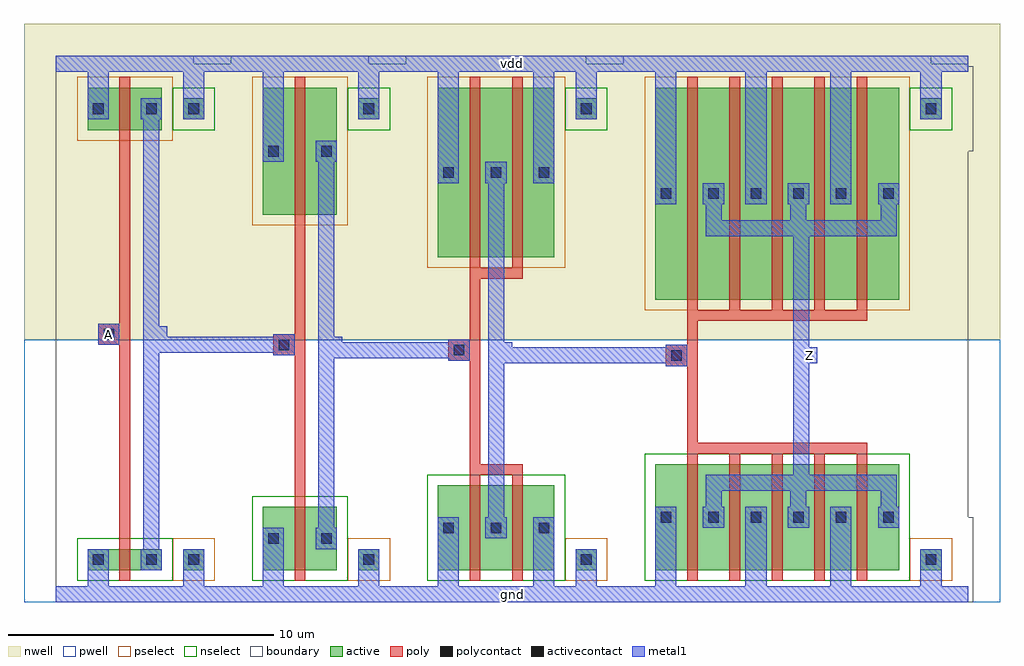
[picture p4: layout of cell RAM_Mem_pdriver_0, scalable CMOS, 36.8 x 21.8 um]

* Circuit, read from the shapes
.subckt RAM_Mem_pdriver_0 A Z gnd vdd
M1 RAM_Mem_pinv_6_1/A A gnd gnd nfet w=0.8u l=0.4u
M2 RAM_Mem_pinv_7_2/A RAM_Mem_pinv_6_1/A gnd gnd nfet w=2.4u l=0.4u
M3 RAM_Mem_pinv_8_3/A RAM_Mem_pinv_7_2/A gnd gnd nfet w=3.2u l=0.4u m=2
M4 Z RAM_Mem_pinv_8_3/A gnd gnd nfet w=4u l=0.4u m=5
M5 RAM_Mem_pinv_6_1/A A vdd vdd pfet w=1.6u l=0.4u
M6 RAM_Mem_pinv_7_2/A RAM_Mem_pinv_6_1/A vdd vdd pfet w=4.8u l=0.4u
M7 RAM_Mem_pinv_8_3/A RAM_Mem_pinv_7_2/A vdd vdd pfet w=6.4u l=0.4u m=2
M8 Z RAM_Mem_pinv_8_3/A vdd vdd pfet w=8u l=0.4u m=5
.ends

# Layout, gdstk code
import gdstk
lib = gdstk.Library(unit=1e-6, precision=1e-09)
def R(c, l, rs):  # rectangles x0, y0, x1, y1
    for r in rs: c.add(gdstk.rectangle(r[:2], r[2:], *l))
def A(c, l, x, y, w, h, nx, ny, dx, dy):  # array of equal rectangles
    R(c, l, [(x+i*dx, y+j*dy, x+i*dx+w, y+j*dy+h) for i in range(nx) for j in range(ny)])
pwell = (41, 0)
nwell = (42, 0)
active = (43, 0)
pselect = (44, 0)
nselect = (45, 0)
poly = (46, 0)
polycontact = (47, 0)
activecontact = (48, 0)
metal1 = (49, 0)
boundary = (63, 0)

ram_mem_contact_12 = lib.new_cell('RAM_Mem_contact_12')
R(ram_mem_contact_12, nwell, [(-1.2,-1.2,2,2)])
R(ram_mem_contact_12, active, [(0,0,0.8,0.8)])
R(ram_mem_contact_12, pselect, [(-0.4,-0.4,1.2,1.2)])
R(ram_mem_contact_12, activecontact, [(0.2,0.2,0.6,0.6)])
R(ram_mem_contact_12, metal1, [(0,0,0.8,0.8)])
R(ram_mem_contact_12, boundary, [(-1.2,-1.2,2,2)])

ram_mem_pmos_m1_w1_600_s = lib.new_cell('RAM_Mem_pmos_m1_w1_600_sm1_dm1_da_p')
R(ram_mem_pmos_m1_w1_600_s, nwell, [(-1.2,-1.2,4,2.8)])
R(ram_mem_pmos_m1_w1_600_s, active, [(0,0,2.8,1.6)])
R(ram_mem_pmos_m1_w1_600_s, pselect, [(-0.4,-0.4,3.2,2)])
R(ram_mem_pmos_m1_w1_600_s, poly, [(1.2,-0.4,1.6,2), (1.2,-0.4,1.6,2)])
R(ram_mem_pmos_m1_w1_600_s, metal1, [(0,0.4,0.8,1.2), (2,0.4,2.8,1.2)])
R(ram_mem_pmos_m1_w1_600_s, boundary, [(-1.2,-1.2,4,2.8)])
ram_mem_pmos_m1_w1_600_s.add(gdstk.Reference(ram_mem_contact_12, (0,0.4)))
ram_mem_pmos_m1_w1_600_s.add(gdstk.Reference(ram_mem_contact_12, (2,0.4)))
ram_mem_pmos_m1_w1_600_s.add(gdstk.Label('G', (1.4,0.8), layer=46, texttype=0))
ram_mem_pmos_m1_w1_600_s.add(gdstk.Label('S', (0.4,0.8), layer=49, texttype=0))
ram_mem_pmos_m1_w1_600_s.add(gdstk.Label('D', (2.4,0.8), layer=49, texttype=0))

ram_mem_contact_11 = lib.new_cell('RAM_Mem_contact_11')
R(ram_mem_contact_11, pwell, [(-1.2,-1.2,2,2)])
R(ram_mem_contact_11, active, [(0,0,0.8,0.8)])
R(ram_mem_contact_11, nselect, [(-0.4,-0.4,1.2,1.2)])
R(ram_mem_contact_11, activecontact, [(0.2,0.2,0.6,0.6)])
R(ram_mem_contact_11, metal1, [(0,0,0.8,0.8)])
R(ram_mem_contact_11, boundary, [(-1.2,-1.2,2,2)])

ram_mem_nmos_m1_w0_800_s = lib.new_cell('RAM_Mem_nmos_m1_w0_800_sm1_dm1_da_p')
R(ram_mem_nmos_m1_w0_800_s, pwell, [(-1.2,-1.2,4,2)])
R(ram_mem_nmos_m1_w0_800_s, active, [(0,0,2.8,0.8)])
R(ram_mem_nmos_m1_w0_800_s, nselect, [(-0.4,-0.4,3.2,1.2)])
R(ram_mem_nmos_m1_w0_800_s, poly, [(1.2,-0.4,1.6,1.2), (1.2,-0.4,1.6,1.2)])
R(ram_mem_nmos_m1_w0_800_s, metal1, [(0,0,0.8,0.8), (2,0,2.8,0.8)])
R(ram_mem_nmos_m1_w0_800_s, boundary, [(-1.2,-1.2,4,2)])
ram_mem_nmos_m1_w0_800_s.add(gdstk.Reference(ram_mem_contact_11, (0,0)))
ram_mem_nmos_m1_w0_800_s.add(gdstk.Reference(ram_mem_contact_11, (2,0)))
ram_mem_nmos_m1_w0_800_s.add(gdstk.Label('G', (1.4,0.4), layer=46, texttype=0))
ram_mem_nmos_m1_w0_800_s.add(gdstk.Label('S', (0.4,0.4), layer=49, texttype=0))
ram_mem_nmos_m1_w0_800_s.add(gdstk.Label('D', (2.4,0.4), layer=49, texttype=0))

ram_mem_contact_13 = lib.new_cell('RAM_Mem_contact_13')
R(ram_mem_contact_13, nwell, [(-1.2,-1.2,2,2)])
R(ram_mem_contact_13, active, [(0,0,0.8,0.8)])
R(ram_mem_contact_13, nselect, [(-0.4,-0.4,1.2,1.2)])
R(ram_mem_contact_13, activecontact, [(0.2,0.2,0.6,0.6)])
R(ram_mem_contact_13, metal1, [(0,0,0.8,0.8)])
R(ram_mem_contact_13, boundary, [(-1.2,-1.2,2,2)])

ram_mem_contact_14 = lib.new_cell('RAM_Mem_contact_14')
R(ram_mem_contact_14, pwell, [(-1.2,-1.2,2,2)])
R(ram_mem_contact_14, active, [(0,0,0.8,0.8)])
R(ram_mem_contact_14, pselect, [(-0.4,-0.4,1.2,1.2)])
R(ram_mem_contact_14, activecontact, [(0.2,0.2,0.6,0.6)])
R(ram_mem_contact_14, metal1, [(0,0,0.8,0.8)])
R(ram_mem_contact_14, boundary, [(-1.2,-1.2,2,2)])

ram_mem_contact_15 = lib.new_cell('RAM_Mem_contact_15')
R(ram_mem_contact_15, poly, [(0,0,0.8,0.8)])
R(ram_mem_contact_15, polycontact, [(0.2,0.2,0.6,0.6)])
R(ram_mem_contact_15, metal1, [(0,0,0.8,0.8)])
R(ram_mem_contact_15, boundary, [(0,0,0.8,0.8)])

ram_mem_pinv_5 = lib.new_cell('RAM_Mem_pinv_5')
R(ram_mem_pinv_5, pwell, [(-1.2,-0.3,7.8,9.6)])
R(ram_mem_pinv_5, nwell, [(-1.2,9.6,7.8,21.5)])
R(ram_mem_pinv_5, poly, [(2.4,2.1,2.8,17.1), (2,9.4,2.4,10.2)])
R(ram_mem_pinv_5, metal1, [(0,-0.3,6.6,0.3), (1.2,-0.3,2,0.9), (4.8,0,5.6,1.3), (3.3,0.9,3.9,18.7), (1.6,9.4,2.4,10.2), (3.6,9.5,4.2,10.1), (1.2,17.9,2,20.3), (4.8,18.3,5.6,20), (0,19.7,6.6,20.3)])
R(ram_mem_pinv_5, boundary, [(0,0,6.6,20), (0,0,6.6,20)])
ram_mem_pinv_5.add(gdstk.Reference(ram_mem_pmos_m1_w1_600_s, (1.2,17.5)))
ram_mem_pinv_5.add(gdstk.Reference(ram_mem_nmos_m1_w0_800_s, (1.2,0.9)))
ram_mem_pinv_5.add(gdstk.Reference(ram_mem_contact_13, (4.8,17.9)))
ram_mem_pinv_5.add(gdstk.Reference(ram_mem_contact_14, (4.8,0.9)))
ram_mem_pinv_5.add(gdstk.Reference(ram_mem_contact_15, (1.6,9.4)))
ram_mem_pinv_5.add(gdstk.Label('A', (2,9.8), layer=49, texttype=0))
ram_mem_pinv_5.add(gdstk.Label('Z', (3.9,9.8), layer=49, texttype=0))
ram_mem_pinv_5.add(gdstk.Label('gnd', (3.3,0), layer=49, texttype=0))
ram_mem_pinv_5.add(gdstk.Label('vdd', (3.3,20), layer=49, texttype=0))

ram_mem_pmos_m1_w4_800_s = lib.new_cell('RAM_Mem_pmos_m1_w4_800_sm1_dm1_da_p')
R(ram_mem_pmos_m1_w4_800_s, nwell, [(-1.2,-1.2,4,6)])
R(ram_mem_pmos_m1_w4_800_s, active, [(0,0,2.8,4.8)])
R(ram_mem_pmos_m1_w4_800_s, pselect, [(-0.4,-0.4,3.2,5.2)])
R(ram_mem_pmos_m1_w4_800_s, poly, [(1.2,-0.4,1.6,5.2), (1.2,-0.4,1.6,5.2)])
R(ram_mem_pmos_m1_w4_800_s, metal1, [(0,2,0.8,2.8), (2,2,2.8,2.8)])
R(ram_mem_pmos_m1_w4_800_s, boundary, [(-1.2,-1.2,4,6)])
ram_mem_pmos_m1_w4_800_s.add(gdstk.Reference(ram_mem_contact_12, (0,2)))
ram_mem_pmos_m1_w4_800_s.add(gdstk.Reference(ram_mem_contact_12, (2,2)))
ram_mem_pmos_m1_w4_800_s.add(gdstk.Label('G', (1.4,2.4), layer=46, texttype=0))
ram_mem_pmos_m1_w4_800_s.add(gdstk.Label('S', (0.4,2.4), layer=49, texttype=0))
ram_mem_pmos_m1_w4_800_s.add(gdstk.Label('D', (2.4,2.4), layer=49, texttype=0))

ram_mem_nmos_m1_w2_400_s = lib.new_cell('RAM_Mem_nmos_m1_w2_400_sm1_dm1_da_p')
R(ram_mem_nmos_m1_w2_400_s, pwell, [(-1.2,-1.2,4,3.6)])
R(ram_mem_nmos_m1_w2_400_s, active, [(0,0,2.8,2.4)])
R(ram_mem_nmos_m1_w2_400_s, nselect, [(-0.4,-0.4,3.2,2.8)])
R(ram_mem_nmos_m1_w2_400_s, poly, [(1.2,-0.4,1.6,2.8), (1.2,-0.4,1.6,2.8)])
R(ram_mem_nmos_m1_w2_400_s, metal1, [(0,0.8,0.8,1.6), (2,0.8,2.8,1.6)])
R(ram_mem_nmos_m1_w2_400_s, boundary, [(-1.2,-1.2,4,3.6)])
ram_mem_nmos_m1_w2_400_s.add(gdstk.Reference(ram_mem_contact_11, (0,0.8)))
ram_mem_nmos_m1_w2_400_s.add(gdstk.Reference(ram_mem_contact_11, (2,0.8)))
ram_mem_nmos_m1_w2_400_s.add(gdstk.Label('G', (1.4,1.2), layer=46, texttype=0))
ram_mem_nmos_m1_w2_400_s.add(gdstk.Label('S', (0.4,1.2), layer=49, texttype=0))
ram_mem_nmos_m1_w2_400_s.add(gdstk.Label('D', (2.4,1.2), layer=49, texttype=0))

ram_mem_pinv_6 = lib.new_cell('RAM_Mem_pinv_6')
R(ram_mem_pinv_6, pwell, [(-1.2,-0.3,7.8,9.6)])
R(ram_mem_pinv_6, nwell, [(-1.2,9.6,7.8,21.5)])
R(ram_mem_pinv_6, poly, [(2.4,3.7,2.8,13.9), (2,9,2.4,9.8)])
R(ram_mem_pinv_6, metal1, [(0,-0.3,6.6,0.3), (1.2,-0.3,2,1.7), (4.8,0,5.6,1.3), (3.3,1.7,3.9,17.1), (1.6,9,2.4,9.8), (3.6,9.1,4.2,9.7), (1.2,16.3,2,20.3), (4.8,18.3,5.6,20), (0,19.7,6.6,20.3)])
R(ram_mem_pinv_6, boundary, [(0,0,6.6,20), (0,0,6.6,20)])
ram_mem_pinv_6.add(gdstk.Reference(ram_mem_pmos_m1_w4_800_s, (1.2,14.3)))
ram_mem_pinv_6.add(gdstk.Reference(ram_mem_nmos_m1_w2_400_s, (1.2,0.9)))
ram_mem_pinv_6.add(gdstk.Reference(ram_mem_contact_13, (4.8,17.9)))
ram_mem_pinv_6.add(gdstk.Reference(ram_mem_contact_14, (4.8,0.9)))
ram_mem_pinv_6.add(gdstk.Reference(ram_mem_contact_15, (1.6,9)))
ram_mem_pinv_6.add(gdstk.Label('A', (2,9.4), layer=49, texttype=0))
ram_mem_pinv_6.add(gdstk.Label('Z', (3.9,9.4), layer=49, texttype=0))
ram_mem_pinv_6.add(gdstk.Label('gnd', (3.3,0), layer=49, texttype=0))
ram_mem_pinv_6.add(gdstk.Label('vdd', (3.3,20), layer=49, texttype=0))

ram_mem_pmos_m2_w6_400_s = lib.new_cell('RAM_Mem_pmos_m2_w6_400_sm1_dm1_da_p')
R(ram_mem_pmos_m2_w6_400_s, nwell, [(-1.2,-1.2,5.6,7.6)])
R(ram_mem_pmos_m2_w6_400_s, active, [(0,0,4.4,6.4)])
R(ram_mem_pmos_m2_w6_400_s, pselect, [(-0.4,-0.4,4.8,6.8)])
R(ram_mem_pmos_m2_w6_400_s, poly, [(1.2,-0.8,3.2,-0.4), (1.2,-0.4,1.6,6.8), (2.8,-0.4,3.2,6.8)])
A(ram_mem_pmos_m2_w6_400_s, metal1, 0, 2.8, 0.8, 0.8, 3, 1, 1.8, 0)
R(ram_mem_pmos_m2_w6_400_s, boundary, [(-1.2,-1.2,5.6,7.6)])
ram_mem_pmos_m2_w6_400_s.add(gdstk.Reference(ram_mem_contact_12, (0,2.8)))
ram_mem_pmos_m2_w6_400_s.add(gdstk.Reference(ram_mem_contact_12, (1.8,2.8)))
ram_mem_pmos_m2_w6_400_s.add(gdstk.Reference(ram_mem_contact_12, (3.6,2.8)))
ram_mem_pmos_m2_w6_400_s.add(gdstk.Label('G', (2.2,-0.6), layer=46, texttype=0))
ram_mem_pmos_m2_w6_400_s.add(gdstk.Label('S', (0.4,3.2), layer=49, texttype=0))
ram_mem_pmos_m2_w6_400_s.add(gdstk.Label('S', (4,3.2), layer=49, texttype=0))
ram_mem_pmos_m2_w6_400_s.add(gdstk.Label('D', (2.2,3.2), layer=49, texttype=0))

ram_mem_nmos_m2_w3_200_s = lib.new_cell('RAM_Mem_nmos_m2_w3_200_sm1_dm1_da_p')
R(ram_mem_nmos_m2_w3_200_s, pwell, [(-1.2,-1.2,5.6,4.4)])
R(ram_mem_nmos_m2_w3_200_s, active, [(0,0,4.4,3.2)])
R(ram_mem_nmos_m2_w3_200_s, nselect, [(-0.4,-0.4,4.8,3.6)])
R(ram_mem_nmos_m2_w3_200_s, poly, [(1.2,-0.4,1.6,3.6), (2.8,-0.4,3.2,3.6), (1.2,3.6,3.2,4)])
A(ram_mem_nmos_m2_w3_200_s, metal1, 0, 1.2, 0.8, 0.8, 3, 1, 1.8, 0)
R(ram_mem_nmos_m2_w3_200_s, boundary, [(-1.2,-1.2,5.6,4.4)])
ram_mem_nmos_m2_w3_200_s.add(gdstk.Reference(ram_mem_contact_11, (0,1.2)))
ram_mem_nmos_m2_w3_200_s.add(gdstk.Reference(ram_mem_contact_11, (1.8,1.2)))
ram_mem_nmos_m2_w3_200_s.add(gdstk.Reference(ram_mem_contact_11, (3.6,1.2)))
ram_mem_nmos_m2_w3_200_s.add(gdstk.Label('G', (2.2,3.8), layer=46, texttype=0))
ram_mem_nmos_m2_w3_200_s.add(gdstk.Label('S', (4,1.6), layer=49, texttype=0))
ram_mem_nmos_m2_w3_200_s.add(gdstk.Label('S', (0.4,1.6), layer=49, texttype=0))
ram_mem_nmos_m2_w3_200_s.add(gdstk.Label('D', (2.2,1.6), layer=49, texttype=0))

ram_mem_pinv_7 = lib.new_cell('RAM_Mem_pinv_7')
R(ram_mem_pinv_7, pwell, [(-1.2,-0.3,9.4,9.6)])
R(ram_mem_pinv_7, nwell, [(-1.2,9.6,9.4,21.5)])
R(ram_mem_pinv_7, poly, [(2.4,4.9,2.8,11.9), (2,8.8,2.4,9.6)])
R(ram_mem_pinv_7, metal1, [(0,-0.3,8.2,0.3), (1.2,-0.3,2,2.1), (4.8,-0.3,5.6,2.1), (6.4,0,7.2,1.3), (3.1,2.1,3.7,16.3), (1.6,8.8,2.4,9.6), (3.4,8.9,4,9.5), (1.2,15.5,2,20.3), (4.8,15.5,5.6,20.3), (6.4,18.3,7.2,20), (0,19.7,8.2,20.3)])
R(ram_mem_pinv_7, boundary, [(0,0,8.2,20), (0,0,8.2,20)])
ram_mem_pinv_7.add(gdstk.Reference(ram_mem_pmos_m2_w6_400_s, (1.2,12.7)))
ram_mem_pinv_7.add(gdstk.Reference(ram_mem_nmos_m2_w3_200_s, (1.2,0.9)))
ram_mem_pinv_7.add(gdstk.Reference(ram_mem_contact_13, (6.4,17.9)))
ram_mem_pinv_7.add(gdstk.Reference(ram_mem_contact_14, (6.4,0.9)))
ram_mem_pinv_7.add(gdstk.Reference(ram_mem_contact_15, (1.6,8.8)))
ram_mem_pinv_7.add(gdstk.Label('A', (2,9.2), layer=49, texttype=0))
ram_mem_pinv_7.add(gdstk.Label('Z', (3.7,9.2), layer=49, texttype=0))
ram_mem_pinv_7.add(gdstk.Label('gnd', (4.1,0), layer=49, texttype=0))
ram_mem_pinv_7.add(gdstk.Label('vdd', (4.1,20), layer=49, texttype=0))

ram_mem_pmos_m5_w8_000_s = lib.new_cell('RAM_Mem_pmos_m5_w8_000_sm1_dm1_da_p')
R(ram_mem_pmos_m5_w8_000_s, nwell, [(-1.2,-1.2,10.4,9.2)])
R(ram_mem_pmos_m5_w8_000_s, active, [(0,0,9.2,8)])
R(ram_mem_pmos_m5_w8_000_s, pselect, [(-0.4,-0.4,9.6,8.4)])
A(ram_mem_pmos_m5_w8_000_s, poly, 1.2, -0.4, 0.4, 8.8, 5, 1, 1.6, 0)
R(ram_mem_pmos_m5_w8_000_s, poly, [(1.2,-0.8,8,-0.4)])
R(ram_mem_pmos_m5_w8_000_s, metal1, [(1.9,2.4,9.1,3), (1.9,2.7,2.5,4), (5.1,2.7,5.7,4), (8.5,2.7,9.1,4), (0,3.6,0.8,4.4), (3.4,3.6,4.2,4.4), (6.6,3.6,7.4,4.4)])
R(ram_mem_pmos_m5_w8_000_s, boundary, [(-1.2,-1.2,10.4,9.2)])
ram_mem_pmos_m5_w8_000_s.add(gdstk.Reference(ram_mem_contact_12, (0,3.6)))
ram_mem_pmos_m5_w8_000_s.add(gdstk.Reference(ram_mem_contact_12, (1.8,3.6)))
ram_mem_pmos_m5_w8_000_s.add(gdstk.Reference(ram_mem_contact_12, (3.4,3.6)))
ram_mem_pmos_m5_w8_000_s.add(gdstk.Reference(ram_mem_contact_12, (5,3.6)))
ram_mem_pmos_m5_w8_000_s.add(gdstk.Reference(ram_mem_contact_12, (6.6,3.6)))
ram_mem_pmos_m5_w8_000_s.add(gdstk.Reference(ram_mem_contact_12, (8.4,3.6)))
ram_mem_pmos_m5_w8_000_s.add(gdstk.Label('G', (4.6,-0.6), layer=46, texttype=0))
ram_mem_pmos_m5_w8_000_s.add(gdstk.Label('S', (0.4,4), layer=49, texttype=0))
ram_mem_pmos_m5_w8_000_s.add(gdstk.Label('S', (7,4), layer=49, texttype=0))
ram_mem_pmos_m5_w8_000_s.add(gdstk.Label('S', (3.8,4), layer=49, texttype=0))
ram_mem_pmos_m5_w8_000_s.add(gdstk.Label('D', (5.5,2.7), layer=49, texttype=0))

ram_mem_nmos_m5_w4_000_s = lib.new_cell('RAM_Mem_nmos_m5_w4_000_sm1_dm1_da_p')
R(ram_mem_nmos_m5_w4_000_s, pwell, [(-1.2,-1.2,10.4,5.2)])
R(ram_mem_nmos_m5_w4_000_s, active, [(0,0,9.2,4)])
R(ram_mem_nmos_m5_w4_000_s, nselect, [(-0.4,-0.4,9.6,4.4)])
A(ram_mem_nmos_m5_w4_000_s, poly, 1.2, -0.4, 0.4, 4.8, 5, 1, 1.6, 0)
R(ram_mem_nmos_m5_w4_000_s, poly, [(1.2,4.4,8,4.8)])
R(ram_mem_nmos_m5_w4_000_s, metal1, [(0,1.6,0.8,2.4), (3.4,1.6,4.2,2.4), (6.6,1.6,7.4,2.4), (1.9,2,2.5,3.3), (5.1,2,5.7,3.3), (8.5,2,9.1,3.3), (1.9,3,9.1,3.6)])
R(ram_mem_nmos_m5_w4_000_s, boundary, [(-1.2,-1.2,10.4,5.2)])
ram_mem_nmos_m5_w4_000_s.add(gdstk.Reference(ram_mem_contact_11, (0,1.6)))
ram_mem_nmos_m5_w4_000_s.add(gdstk.Reference(ram_mem_contact_11, (1.8,1.6)))
ram_mem_nmos_m5_w4_000_s.add(gdstk.Reference(ram_mem_contact_11, (3.4,1.6)))
ram_mem_nmos_m5_w4_000_s.add(gdstk.Reference(ram_mem_contact_11, (5,1.6)))
ram_mem_nmos_m5_w4_000_s.add(gdstk.Reference(ram_mem_contact_11, (6.6,1.6)))
ram_mem_nmos_m5_w4_000_s.add(gdstk.Reference(ram_mem_contact_11, (8.4,1.6)))
ram_mem_nmos_m5_w4_000_s.add(gdstk.Label('G', (4.6,4.6), layer=46, texttype=0))
ram_mem_nmos_m5_w4_000_s.add(gdstk.Label('S', (0.4,2), layer=49, texttype=0))
ram_mem_nmos_m5_w4_000_s.add(gdstk.Label('S', (7,2), layer=49, texttype=0))
ram_mem_nmos_m5_w4_000_s.add(gdstk.Label('S', (3.8,2), layer=49, texttype=0))
ram_mem_nmos_m5_w4_000_s.add(gdstk.Label('D', (5.5,3.3), layer=49, texttype=0))

ram_mem_pinv_8 = lib.new_cell('RAM_Mem_pinv_8')
R(ram_mem_pinv_8, pwell, [(-1.2,-0.3,14.2,9.6)])
R(ram_mem_pinv_8, nwell, [(-1.2,9.6,14.2,21.5)])
R(ram_mem_pinv_8, poly, [(2.4,5.7,2.8,10.3), (2,8.6,2.4,9.4)])
R(ram_mem_pinv_8, metal1, [(0,-0.3,13,0.3), (1.2,-0.3,2,2.5), (4.6,-0.3,5.4,2.5), (7.8,-0.3,8.6,2.5), (11.2,0,12,1.3), (6.4,3.9,7,14.1), (1.6,8.6,2.4,9.4), (6.7,8.7,7.3,9.3), (1.2,14.7,2,20.3), (4.6,14.7,5.4,20.3), (7.8,14.7,8.6,20.3), (11.2,18.3,12,20), (0,19.7,13,20.3)])
R(ram_mem_pinv_8, boundary, [(0,0,13,20), (0,0,13,20)])
ram_mem_pinv_8.add(gdstk.Reference(ram_mem_pmos_m5_w8_000_s, (1.2,11.1)))
ram_mem_pinv_8.add(gdstk.Reference(ram_mem_nmos_m5_w4_000_s, (1.2,0.9)))
ram_mem_pinv_8.add(gdstk.Reference(ram_mem_contact_13, (11.2,17.9)))
ram_mem_pinv_8.add(gdstk.Reference(ram_mem_contact_14, (11.2,0.9)))
ram_mem_pinv_8.add(gdstk.Reference(ram_mem_contact_15, (1.6,8.6)))
ram_mem_pinv_8.add(gdstk.Label('A', (2,9), layer=49, texttype=0))
ram_mem_pinv_8.add(gdstk.Label('Z', (7,9), layer=49, texttype=0))
ram_mem_pinv_8.add(gdstk.Label('gnd', (6.5,0), layer=49, texttype=0))
ram_mem_pinv_8.add(gdstk.Label('vdd', (6.5,20), layer=49, texttype=0))

ram_mem_pdriver_0 = lib.new_cell('RAM_Mem_pdriver_0')
R(ram_mem_pdriver_0, pwell, [(-1.2,-0.3,35.6,9.6)])
R(ram_mem_pdriver_0, nwell, [(-1.2,9.6,35.6,21.5)])
R(ram_mem_pdriver_0, metal1, [(0,-0.3,34.4,0.3), (16.6,8.7,17.2,9.3), (16.9,8.7,23.4,9.3), (28.1,8.7,28.7,9.3), (10.2,8.9,10.8,9.5), (10.5,8.9,15.2,9.5), (16.6,9,17.2,9.2), (3.6,9.1,4.2,9.7), (3.9,9.1,8.6,9.7), (10.2,9.2,10.8,9.4), (1.6,9.4,2.4,10.2), (3.6,9.4,4.2,9.8), (0,19.7,34.4,20.3)])
R(ram_mem_pdriver_0, boundary, [(0,0,34.4,20), (0,0,34.4,20)])
ram_mem_pdriver_0.add(gdstk.Reference(ram_mem_pinv_5, (0,0)))
ram_mem_pdriver_0.add(gdstk.Reference(ram_mem_pinv_6, (6.6,0)))
ram_mem_pdriver_0.add(gdstk.Reference(ram_mem_pinv_7, (13.2,0)))
ram_mem_pdriver_0.add(gdstk.Reference(ram_mem_pinv_8, (21.4,0)))
ram_mem_pdriver_0.add(gdstk.Label('Z', (28.4,9), layer=49, texttype=0))
ram_mem_pdriver_0.add(gdstk.Label('A', (2,9.8), layer=49, texttype=0))
ram_mem_pdriver_0.add(gdstk.Label('gnd', (17.2,0), layer=49, texttype=0))
ram_mem_pdriver_0.add(gdstk.Label('vdd', (17.2,20), layer=49, texttype=0))

lib.write_gds('RAM_Mem_pdriver_0.gds')
